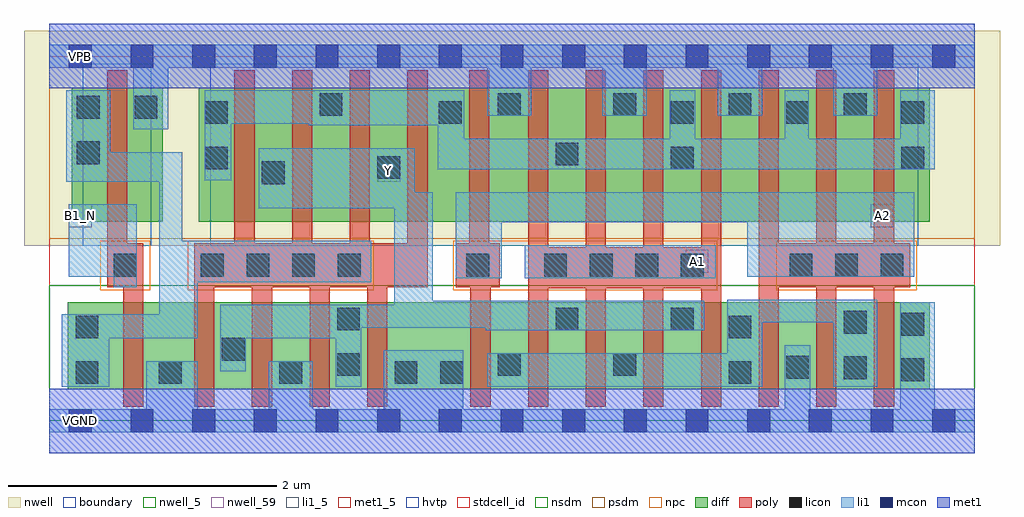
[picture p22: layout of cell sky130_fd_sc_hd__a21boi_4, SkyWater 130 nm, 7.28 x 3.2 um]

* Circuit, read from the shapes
.subckt sky130_fd_sc_hd__a21boi_4 A1 A2 B1_N VGND VNB VPB VPWR Y
XM1 VGND B1_N n1 VNB sky130_fd_pr__nfet_01v8 w=0.65 l=0.15
XM2 Y n1 VGND VNB sky130_fd_pr__nfet_01v8 w=0.65 l=0.15 m=4
XM3 n2 A2 VGND VNB sky130_fd_pr__nfet_01v8 w=0.65 l=0.15 m=4
XM4 Y A1 n2 VNB sky130_fd_pr__nfet_01v8 w=0.65 l=0.15 m=4
XM5 VPWR B1_N n1 VPB sky130_fd_pr__pfet_01v8_hvt w=1 l=0.15
XM6 Y n1 n3 VPB sky130_fd_pr__pfet_01v8_hvt w=1 l=0.15 m=4
XM7 VPWR A2 n3 VPB sky130_fd_pr__pfet_01v8_hvt w=1 l=0.15 m=4
XM8 n3 A1 VPWR VPB sky130_fd_pr__pfet_01v8_hvt w=1 l=0.15 m=4
.ends

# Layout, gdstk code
import gdstk
lib = gdstk.Library(unit=1e-6, precision=1e-09)
def R(c, l, rs):  # rectangles x0, y0, x1, y1
    for r in rs: c.add(gdstk.rectangle(r[:2], r[2:], *l))
def A(c, l, x, y, w, h, nx, ny, dx, dy):  # array of equal rectangles
    R(c, l, [(x+i*dx, y+j*dy, x+i*dx+w, y+j*dy+h) for i in range(nx) for j in range(ny)])
nwell_5 = (64, 5)
nwell = (64, 20)
nwell_59 = (64, 59)
diff = (65, 20)
poly = (66, 20)
licon = (66, 44)
li1_5 = (67, 5)
li1 = (67, 20)
mcon = (67, 44)
met1_5 = (68, 5)
met1 = (68, 20)
hvtp = (78, 44)
stdcell_id = (81, 4)
nsdm = (93, 44)
psdm = (94, 20)
npc = (95, 20)
boundary = (235, 4)

sky130_fd_sc_hd__a21boi_ = lib.new_cell('sky130_fd_sc_hd__a21boi_4')
R(sky130_fd_sc_hd__a21boi_, nwell_5, [(0.145,2.635,0.315,2.805)])
R(sky130_fd_sc_hd__a21boi_, nwell, [(-0.19,1.305,7.09,2.91)])
R(sky130_fd_sc_hd__a21boi_, nwell_59, [(0.145,-0.085,0.315,0.085)])
R(sky130_fd_sc_hd__a21boi_, diff, [(0.135,0.235,6.565,0.885), (0.165,1.485,0.845,2.485), (1.115,1.485,6.565,2.485)])
A(sky130_fd_sc_hd__a21boi_, poly, 1.08, 0.105, 0.15, 0.89, 4, 1, 0.43, 0)
A(sky130_fd_sc_hd__a21boi_, poly, 3.57, 0.105, 0.15, 0.885, 4, 1, 0.43, 0)
A(sky130_fd_sc_hd__a21boi_, poly, 5.29, 0.105, 0.15, 0.89, 3, 1, 0.43, 0)
A(sky130_fd_sc_hd__a21boi_, poly, 3.57, 1.295, 0.15, 1.32, 4, 1, 0.43, 0)
A(sky130_fd_sc_hd__a21boi_, poly, 1.38, 1.325, 0.15, 1.29, 4, 1, 0.43, 0)
A(sky130_fd_sc_hd__a21boi_, poly, 5.29, 1.325, 0.15, 1.29, 3, 1, 0.43, 0)
R(sky130_fd_sc_hd__a21boi_, poly, [(0.55,0.105,0.7,0.995), (3.14,0.105,3.29,0.995), (3.57,0.99,5.01,1.295), (0.43,0.995,0.7,1.325), (1.08,0.995,2.82,1.325), (3.03,0.995,3.36,1.325), (5.29,0.995,6.42,1.325), (0.43,1.325,0.58,2.615), (3.13,1.325,3.28,2.615)])
A(sky130_fd_sc_hd__a21boi_, licon, 1.13, 1.075, 0.17, 0.17, 4, 1, 0.34, 0)
A(sky130_fd_sc_hd__a21boi_, licon, 3.69, 1.075, 0.17, 0.17, 4, 1, 0.34, 0)
A(sky130_fd_sc_hd__a21boi_, licon, 5.52, 1.075, 0.17, 0.17, 3, 1, 0.34, 0)
A(sky130_fd_sc_hd__a21boi_, licon, 4.635, 2.215, 0.17, 0.17, 3, 1, 0.86, 0)
A(sky130_fd_sc_hd__a21boi_, licon, 3.345, 2.275, 0.17, 0.17, 4, 1, 0.86, 0)
R(sky130_fd_sc_hd__a21boi_, licon, [(0.195,0.275,0.365,0.445), (0.815,0.275,0.985,0.445), (1.715,0.275,1.885,0.445), (2.575,0.275,2.745,0.445), (2.915,0.275,3.085,0.445), (5.065,0.275,5.235,0.445), (6.355,0.295,6.525,0.465), (5.925,0.31,6.095,0.48), (5.495,0.315,5.665,0.485), (2.145,0.335,2.315,0.505), (3.345,0.335,3.515,0.505), (4.205,0.335,4.375,0.505), (1.285,0.45,1.455,0.62), (0.195,0.615,0.365,0.785), (5.065,0.615,5.235,0.785), (6.355,0.635,6.525,0.805), (5.925,0.65,6.095,0.82), (2.145,0.675,2.315,0.845), (3.775,0.675,3.945,0.845), (4.635,0.675,4.805,0.845), (0.48,1.075,0.65,1.245), (3.11,1.075,3.28,1.245), (1.585,1.765,1.755,1.935), (2.445,1.805,2.615,1.975), (1.16,1.875,1.33,2.045), (4.635,1.875,4.805,2.045), (6.355,1.875,6.525,2.045), (3.775,1.905,3.945,2.075), (0.205,1.915,0.375,2.085), (1.16,2.215,1.33,2.385), (2.905,2.215,3.075,2.385), (0.205,2.255,0.375,2.425), (0.635,2.255,0.805,2.425), (2.015,2.275,2.185,2.445)])
R(sky130_fd_sc_hd__a21boi_, li1_5, [(4.745,1.105,4.915,1.275), (0.145,1.445,0.315,1.615), (6.125,1.445,6.295,1.615), (2.445,1.785,2.615,1.955)])
A(sky130_fd_sc_hd__a21boi_, li1, 3.265, 2.275, 0.33, 0.36, 4, 1, 0.86, 0)
R(sky130_fd_sc_hd__a21boi_, li1, [(0,-0.085,6.9,0.085), (0.72,0.085,1.105,0.445), (1.635,0.085,1.965,0.445), (2.495,0.085,3.085,0.525), (5.485,0.085,5.675,0.565), (6.345,0.085,6.605,0.885), (0.09,0.255,0.445,0.615), (2.135,0.255,2.325,0.615), (3.265,0.255,5.315,0.505), (5.845,0.255,6.175,0.735), (1.275,0.37,1.465,0.615), (5.055,0.505,5.315,0.735), (0.09,0.615,1.105,0.795), (1.275,0.615,2.325,0.695), (3.255,0.675,4.885,0.695), (1.275,0.695,4.885,0.865), (5.055,0.735,6.175,0.905), (0.82,0.795,1.105,1.035), (2.57,0.865,4.885,0.895), (2.57,0.895,2.86,1.585), (0.48,0.995,0.65,1.075), (0.82,1.035,2.4,1.345), (3.03,1.065,3.375,1.48), (3.545,1.065,4.97,1.31), (0.145,1.075,0.65,1.615), (5.205,1.075,6.45,1.48), (0.82,1.345,0.99,1.785), (3.03,1.48,6.45,1.705), (1.56,1.585,2.86,1.705), (1.56,1.705,2.725,2.035), (0.125,1.785,0.99,2.005), (1.16,1.795,1.355,2.215), (2.895,1.875,6.605,2.105), (0.125,2.005,0.455,2.465), (2.895,2.105,3.095,2.205), (4.625,2.105,4.815,2.465), (5.485,2.105,5.665,2.465), (6.345,2.105,6.605,2.465), (0.625,2.175,0.885,2.635), (1.935,2.205,3.095,2.215), (1.16,2.215,3.095,2.465), (0,2.635,6.9,2.805)])
A(sky130_fd_sc_hd__a21boi_, mcon, 0.145, -0.085, 0.17, 0.17, 15, 2, 0.46, 2.72)
R(sky130_fd_sc_hd__a21boi_, met1_5, [(0.145,-0.085,0.315,0.085), (0.145,2.635,0.315,2.805)])
R(sky130_fd_sc_hd__a21boi_, met1, [(0,-0.24,6.9,0.24), (0,2.48,6.9,2.96)])
R(sky130_fd_sc_hd__a21boi_, hvtp, [(0.25,1.305,0.76,2.665), (1.2,1.305,6.48,2.665)])
R(sky130_fd_sc_hd__a21boi_, stdcell_id, [(0,0,6.9,2.72)])
R(sky130_fd_sc_hd__a21boi_, nsdm, [(0,0,6.9,1.01)])
R(sky130_fd_sc_hd__a21boi_, psdm, [(0,1.36,6.9,2.72)])
R(sky130_fd_sc_hd__a21boi_, npc, [(0.38,0.975,0.75,1.345), (1.03,0.975,2.42,1.345), (3.01,0.975,4.98,1.345), (5.42,0.975,6.47,1.345)])
R(sky130_fd_sc_hd__a21boi_, boundary, [(0,0,6.9,2.72)])
sky130_fd_sc_hd__a21boi_.add(gdstk.Label('A1', (4.83,1.19), layer=67, texttype=5))
sky130_fd_sc_hd__a21boi_.add(gdstk.Label('A2', (6.21,1.53), layer=67, texttype=5))
sky130_fd_sc_hd__a21boi_.add(gdstk.Label('B1_N', (0.23,1.53), layer=67, texttype=5))
sky130_fd_sc_hd__a21boi_.add(gdstk.Label('VGND', (0.23,0), layer=68, texttype=5))
sky130_fd_sc_hd__a21boi_.add(gdstk.Label('VNB', (0.23,0), layer=64, texttype=59))
sky130_fd_sc_hd__a21boi_.add(gdstk.Label('VPB', (0.23,2.72), layer=64, texttype=5))
sky130_fd_sc_hd__a21boi_.add(gdstk.Label('VPWR', (0.23,2.72), layer=68, texttype=5))
sky130_fd_sc_hd__a21boi_.add(gdstk.Label('Y', (2.53,1.87), layer=67, texttype=5))

lib.write_gds('sky130_fd_sc_hd__a21boi_4.gds')
